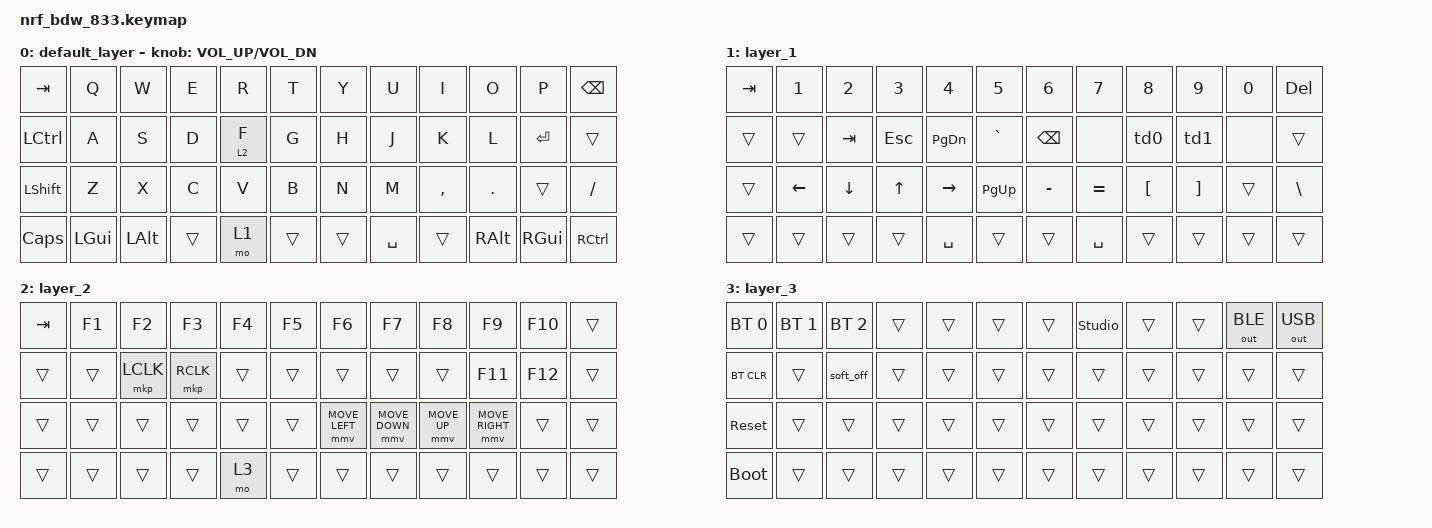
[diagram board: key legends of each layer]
/*
 * Copyright (c) 2020 The ZMK Contributors
 *
 * SPDX-License-Identifier: MIT
 */

#include <behaviors.dtsi>
#include <dt-bindings/zmk/keys.h>
#include <dt-bindings/zmk/bt.h>
#include <dt-bindings/zmk/outputs.h>
#include <dt-bindings/zmk/pointing.h>


#define ZMK_POINTING_DEFAULT_MOVE_VAL 1500  // default: 600
#define ZMK_POINTING_DEFAULT_SCRL_VAL 20    // default: 10

/* Uncomment this block if using an encoder */
//&encoder {
//    status = "okay";
//};

&lt {
    tapping-term-ms = <200>;
    flavor = "balanced";
    quick-tap-ms = <50>;
};

&soft_off {
    hold-time-ms = <5000>; // Only turn off it the key is held for 5 seconds or longer.
};

/ {
    td0: tap_dance_0 {
            compatible = "zmk,behavior-tap-dance";
            #binding-cells = <0>;
            tapping-term-ms = <180>;
            bindings = <&kp SEMI>, <&kp COLON>;
        };
    td1: tap_dance_1 {
            compatible = "zmk,behavior-tap-dance";
            #binding-cells = <0>;
            tapping-term-ms = <180>;
            bindings = <&kp SQT>, <&kp DQT>;
        };
    combos {
        compatible = "zmk,combos";
        combo_esc {
            timeout-ms = <10>;
            key-positions = <1 2>;
            bindings = <&kp ESC>;
        };
        combo_sft_tab {
            timeout-ms = <10>;
            key-positions = <2 3>;
            bindings = <&kp LS(TAB)>;
        };
        combo_tab {
            timeout-ms = <10>;
            key-positions = <3 4>;
            bindings = <&kp TAB>;
        };
    };
    keymap {
        compatible = "zmk,keymap";

        default_layer {
            bindings = <
                &kp TAB    &kp Q    &kp W    &kp E  &kp R     &kp T  &kp Y   &kp U     &kp I     &kp O    &kp P     &kp BSPC
                &kp LCTRL  &kp A    &kp S    &kp D  &lt 2 F   &kp G  &kp H   &kp J     &kp K     &kp L    &kp RET   &trans
                &kp LSHFT  &kp Z    &kp X    &kp C  &kp V     &kp B  &kp N   &kp M     &kp COMMA &kp DOT  &trans    &kp SLASH
                &kp CAPS   &kp LGUI &kp LALT &trans &mo 1     &trans &trans  &kp SPACE &trans    &kp RALT &kp RGUI  &kp RCTL
            >;
            sensor-bindings = <&inc_dec_kp C_VOL_UP C_VOL_DN>;
        };

        layer_1 {
            bindings = <
                &kp TAB    &kp N1   &kp N2   &kp N3  &kp N4    &kp N5    &kp N6     &kp N7    &kp N8    &kp N9   &kp N0    &kp DEL
                &trans     &trans   &kp TAB  &kp ESC &kp PG_DN &kp GRAVE &kp BSPC   &none     &td0      &td1     &none     &trans
                &trans     &kp LEFT &kp DOWN &kp UP  &kp RIGHT &kp PG_UP &kp MINUS  &kp EQUAL &kp LBKT  &kp RBKT &trans    &kp BSLH
                &trans     &trans   &trans   &trans  &kp SPACE &trans    &trans     &kp SPACE &trans    &trans   &trans    &trans
            >;
        };

        layer_2 {
            bindings = <
                &kp TAB    &kp F1     &kp F2    &kp F3    &kp F4 &kp F5 &kp F6         &kp F7         &kp F8       &kp F9          &kp F10   &trans
                &trans     &trans     &mkp LCLK &mkp RCLK &trans &trans &trans         &trans         &trans       &kp F11         &kp F12   &trans
                &trans     &trans     &trans    &trans    &trans &trans &mmv MOVE_LEFT &mmv MOVE_DOWN &mmv MOVE_UP &mmv MOVE_RIGHT &trans    &trans
                &trans     &trans     &trans    &trans    &mo 3  &trans &trans         &trans         &trans       &trans          &trans    &trans
            >;
        };

        layer_3 {
            bindings = <
                &bt BT_SEL 0  &bt BT_SEL 1  &bt BT_SEL 2   &trans  &trans    &trans    &trans     &studio_unlock    &trans    &trans   &out OUT_BLE &out OUT_USB
                &bt BT_CLR    &trans        &soft_off   &trans  &trans    &trans    &trans     &trans    &trans    &trans   &trans       &trans
                &sys_reset    &trans        &trans         &trans  &trans    &trans    &trans     &trans    &trans    &trans   &trans       &trans
                &bootloader   &trans        &trans         &trans  &trans    &trans    &trans     &trans    &trans    &trans   &trans       &trans
            >;
        };
    };
};
